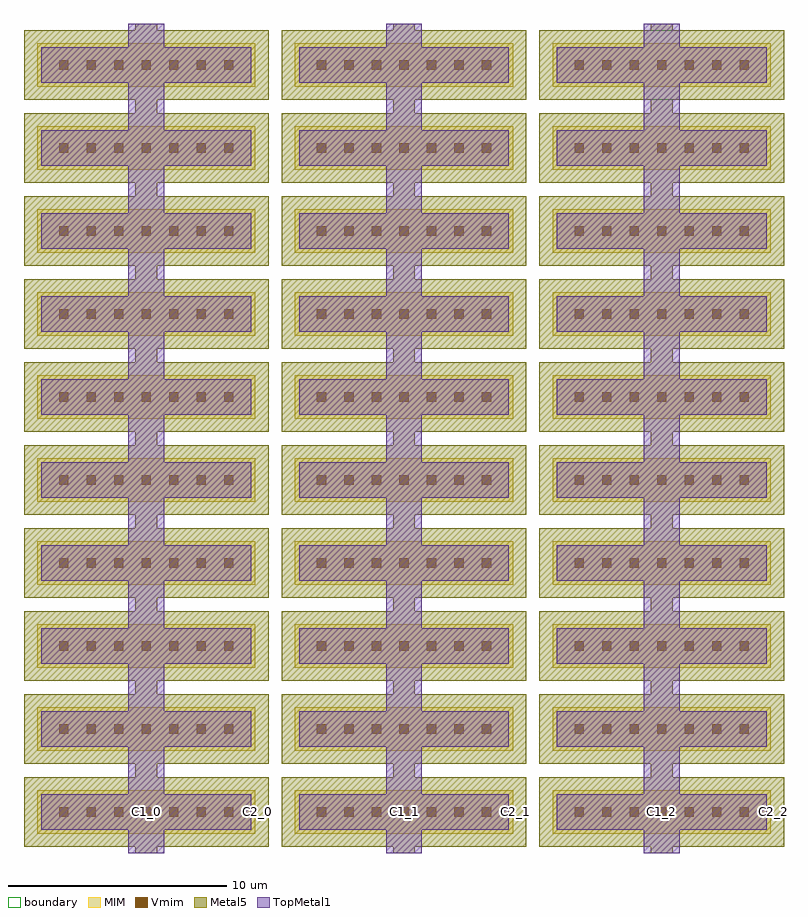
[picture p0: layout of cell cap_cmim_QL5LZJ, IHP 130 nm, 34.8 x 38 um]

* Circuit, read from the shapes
.subckt cap_cmim_QL5LZJ C1_0 C1_1 C1_2 C2_0 C2_1 C2_2
XC1 C1_0 C2_0 cap_cmim w=10u l=2u m=10
XC2 C1_1 C2_1 cap_cmim w=10u l=2u m=10
XC3 C1_2 C2_2 cap_cmim w=10u l=2u m=10
.ends

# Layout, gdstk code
import gdstk
lib = gdstk.Library(unit=1e-6, precision=1e-09)
def R(c, l, rs):  # rectangles x0, y0, x1, y1
    for r in rs: c.add(gdstk.rectangle(r[:2], r[2:], *l))
def A(c, l, x, y, w, h, nx, ny, dx, dy):  # array of equal rectangles
    R(c, l, [(x+i*dx, y+j*dy, x+i*dx+w, y+j*dy+h) for i in range(nx) for j in range(ny)])
MIM = (36, 0)
Metal5 = (67, 0)
TopMetal1 = (126, 0)
Vmim = (129, 0)
boundary = (189, 4)

cap_cmim_ql5lzj = lib.new_cell('cap_cmim_QL5LZJ')
A(cap_cmim_ql5lzj, MIM, -16.8, -18.1, 10, 2, 3, 10, 11.8, 3.8)
A(cap_cmim_ql5lzj, Metal5, -12.3, -19, 1, 0.3, 3, 2, 11.8, 37.7)
A(cap_cmim_ql5lzj, Metal5, -17.4, -18.7, 11.2, 3.2, 3, 10, 11.8, 3.8)
A(cap_cmim_ql5lzj, Metal5, -12.3, -15.5, 1, 0.6, 3, 9, 11.8, 3.8)
A(cap_cmim_ql5lzj, TopMetal1, -12.62, -19, 1.64, 1.08, 3, 2, 11.8, 36.92)
A(cap_cmim_ql5lzj, TopMetal1, -16.6, -17.92, 9.6, 1.64, 3, 10, 11.8, 3.8)
A(cap_cmim_ql5lzj, TopMetal1, -12.62, -16.28, 1.64, 2.16, 3, 9, 11.8, 3.8)
A(cap_cmim_ql5lzj, Vmim, -15.79, -17.31, 0.42, 0.42, 7, 10, 1.26, 3.8)
A(cap_cmim_ql5lzj, Vmim, -3.99, -17.31, 0.42, 0.42, 7, 10, 1.26, 3.8)
A(cap_cmim_ql5lzj, Vmim, 7.81, -17.31, 0.42, 0.42, 7, 10, 1.26, 3.8)
R(cap_cmim_ql5lzj, boundary, [(6.2,15.5,17.4,18.7)])
cap_cmim_ql5lzj.add(gdstk.Label('C1_0', (-11.8,-17.1), layer=126, texttype=25))
cap_cmim_ql5lzj.add(gdstk.Label('C2_0', (-6.7,-17.1), layer=67, texttype=25))
cap_cmim_ql5lzj.add(gdstk.Label('C1_1', (0,-17.1), layer=126, texttype=25))
cap_cmim_ql5lzj.add(gdstk.Label('C2_1', (5.1,-17.1), layer=67, texttype=25))
cap_cmim_ql5lzj.add(gdstk.Label('C1_2', (11.8,-17.1), layer=126, texttype=25))
cap_cmim_ql5lzj.add(gdstk.Label('C2_2', (16.9,-17.1), layer=67, texttype=25))

lib.write_gds('cap_cmim_QL5LZJ.gds')
